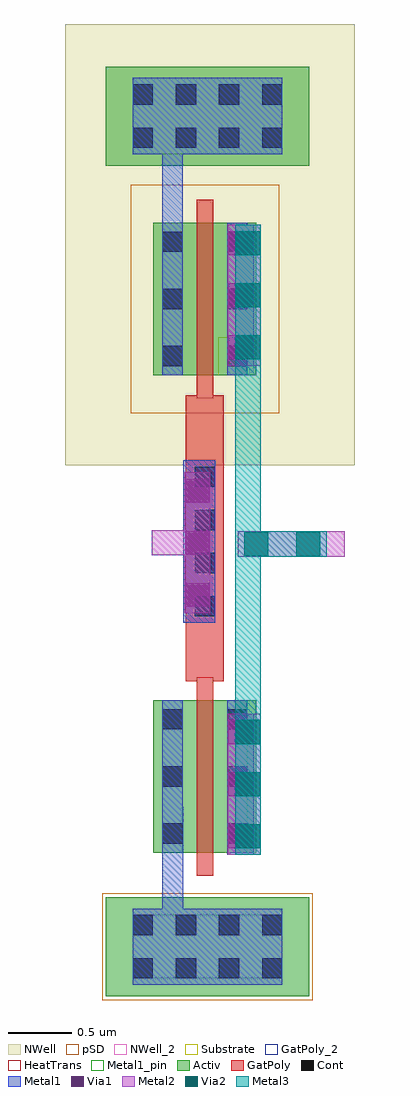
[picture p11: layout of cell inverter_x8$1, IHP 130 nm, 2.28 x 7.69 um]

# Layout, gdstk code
import gdstk
lib = gdstk.Library(unit=1e-6, precision=1e-09)
def R(c, l, rs):  # rectangles x0, y0, x1, y1
    for r in rs: c.add(gdstk.rectangle(r[:2], r[2:], *l))
def A(c, l, x, y, w, h, nx, ny, dx, dy):  # array of equal rectangles
    R(c, l, [(x+i*dx, y+j*dy, x+i*dx+w, y+j*dy+h) for i in range(nx) for j in range(ny)])
Activ = (1, 0)
GatPoly = (5, 0)
GatPoly_2 = (5, 2)
Cont = (6, 0)
Metal1 = (8, 0)
Metal1_pin = (8, 2)
Metal2 = (10, 0)
pSD = (14, 0)
Via1 = (19, 0)
Via2 = (29, 0)
Metal3 = (30, 0)
NWell = (31, 0)
NWell_2 = (31, 2)
Substrate = (40, 0)
HeatTrans = (51, 0)

via_4_2 = lib.new_cell('Via$4$2')
R(via_4_2, Metal2, [(-0.1,-0.555,0.1,0.555)])
A(via_4_2, Via2, -0.095, -0.505, 0.19, 0.19, 1, 3, 0, 0.41)
R(via_4_2, Metal3, [(-0.1,-0.555,0.1,0.555)])

via_2_1_1 = lib.new_cell('Via$2$1$1')
R(via_2_1_1, Metal1, [(-0.105,-0.555,0.105,0.555)])
R(via_2_1_1, Metal2, [(-0.1,-0.555,0.1,0.555)])
A(via_2_1_1, Via1, -0.095, -0.505, 0.19, 0.19, 1, 3, 0, 0.41)

via_3_2_1 = lib.new_cell('Via$3$2$1')
R(via_3_2_1, Metal2, [(-0.35,-0.1,0.35,0.1)])
R(via_3_2_1, Via2, [(-0.3,-0.095,-0.11,0.095), (0.11,-0.095,0.3,0.095)])
R(via_3_2_1, Metal3, [(-0.35,-0.1,0.35,0.1)])

ntap1_3_1 = lib.new_cell('ntap1$3$1')
R(ntap1_3_1, Activ, [(0,0,1.6,0.78)])
A(ntap1_3_1, Cont, 0.21, 0.14, 0.16, 0.16, 4, 2, 0.34, 0.34)
R(ntap1_3_1, Metal1, [(0.21,0.09,1.39,0.69)])
R(ntap1_3_1, Metal1_pin, [(0.21,0.09,1.39,0.69), (0.21,0.14,1.39,0.64)])
R(ntap1_3_1, NWell, [(-0.24,-0.24,1.84,1.02), (0,0,1.6,0.78)])
R(ntap1_3_1, NWell_2, [(0,0,1.6,0.78)])
ntap1_3_1.add(gdstk.Label('well', (0.8,0.01), layer=63, texttype=0))
ntap1_3_1.add(gdstk.Label('well', (0.8,0.01), layer=31, texttype=0))

ptap1_3_1 = lib.new_cell('ptap1$3$1')
R(ptap1_3_1, Activ, [(0,0,1.6,0.78)])
A(ptap1_3_1, Cont, 0.21, 0.14, 0.16, 0.16, 4, 2, 0.34, 0.34)
R(ptap1_3_1, Metal1, [(0.21,0.09,1.39,0.69), (0.21,0.14,1.39,0.64)])
R(ptap1_3_1, Metal1_pin, [(0.21,0.14,1.39,0.64)])
R(ptap1_3_1, pSD, [(-0.03,-0.03,1.63,0.81)])
R(ptap1_3_1, Substrate, [(0,0,1.6,0.78)])
ptap1_3_1.add(gdstk.Label('sub!', (0.8,0.01), layer=63, texttype=0))
ptap1_3_1.add(gdstk.Label('sub!', (0.8,0.01), layer=40, texttype=0))

nmos_3_1 = lib.new_cell('nmos$3$1')
R(nmos_3_1, Activ, [(0,0,0.3,0.3), (0,0,0.81,1.2), (0.51,0,0.81,0.3)])
R(nmos_3_1, GatPoly, [(0.34,-0.18,0.47,1.38)])
R(nmos_3_1, GatPoly_2, [(0.34,-0.18,0.47,1.38)])
A(nmos_3_1, Cont, 0.07, 0.07, 0.16, 0.16, 1, 3, 0, 0.45)
A(nmos_3_1, Cont, 0.58, 0.07, 0.16, 0.16, 1, 3, 0, 0.45)
R(nmos_3_1, Metal1, [(0.07,0,0.23,1.2), (0.58,0,0.74,1.2)])
R(nmos_3_1, Metal1_pin, [(0.07,0,0.23,1.2), (0.58,0,0.74,1.2)])
R(nmos_3_1, HeatTrans, [(0.34,-0.18,0.47,1.38)])
nmos_3_1.add(gdstk.Label('nmos', (0.405,0.6), layer=63, texttype=0))
nmos_3_1.add(gdstk.Label('nmos', (0.405,0.6), layer=51, texttype=0))

pmos_3_1 = lib.new_cell('pmos$3$1')
R(pmos_3_1, Activ, [(0,0,0.3,0.3), (0,0,0.81,1.2), (0.51,0,0.81,0.3)])
R(pmos_3_1, GatPoly, [(0.34,-0.18,0.47,1.38), (0.34,-0.18,0.47,1.38)])
A(pmos_3_1, Cont, 0.07, 0.07, 0.16, 0.16, 1, 3, 0, 0.45)
A(pmos_3_1, Cont, 0.58, 0.07, 0.16, 0.16, 1, 3, 0, 0.45)
R(pmos_3_1, Metal1, [(0.07,0,0.23,1.2), (0.07,0,0.23,1.2), (0.58,0,0.74,1.2), (0.58,0,0.74,1.2)])
R(pmos_3_1, pSD, [(-0.18,-0.3,0.99,1.5)])
R(pmos_3_1, NWell, [(-0.31,-0.31,1.12,1.51)])
R(pmos_3_1, Substrate, [(0.51,0,0.81,0.3)])
R(pmos_3_1, HeatTrans, [(0.34,-0.18,0.47,1.38)])
pmos_3_1.add(gdstk.Label('pmos', (0.405,0.6), layer=63, texttype=0))
pmos_3_1.add(gdstk.Label('pmos', (0.405,0.6), layer=51, texttype=0))

via_4_1_1 = lib.new_cell('Via$4$1$1')
R(via_4_1_1, GatPoly, [(-0.15,-0.66,0.15,0.66)])
A(via_4_1_1, Cont, -0.08, -0.59, 0.16, 0.16, 1, 4, 0, 0.34)
R(via_4_1_1, Metal1, [(-0.08,-0.64,0.08,0.64)])

inverter_x8_1 = lib.new_cell('inverter_x8$1')
R(inverter_x8_1, GatPoly, [(-0.265,-2.855,-0.135,-2.655), (-0.35,-2.25,-0.05,-1.81), (-0.35,-0.49,-0.05,0)])
R(inverter_x8_1, Metal1, [(-0.535,-4.45,-0.37,-3.805), (-0.535,-3.805,-0.37,-3.24), (-0.37,-1.79,-0.35,-0.51), (-0.35,-1.79,-0.28,-0.51), (-0.535,0.96,-0.375,1.26), (-0.535,1.245,-0.375,2.235)])
R(inverter_x8_1, Metal2, [(0.53,-1.27,0.9,-1.07), (-0.62,-1.26,-0.28,-1.06)])
R(inverter_x8_1, Metal3, [(0.04,-3.09,0.24,-2.63), (0.04,-2.7,0.24,-0.24), (0.04,-0.34,0.24,0.76)])
R(inverter_x8_1, NWell, [(-1.3,-0.55,0.98,0.655), (-1.3,0.655,0.755,2.925), (0.755,0.655,0.98,2.925)])
inverter_x8_1.add(gdstk.Reference(via_4_2, (0.14,-3.06)))
inverter_x8_1.add(gdstk.Reference(via_2_1_1, (0.08,-3.06)))
inverter_x8_1.add(gdstk.Reference(via_2_1_1, (-0.26,-1.16)))
inverter_x8_1.add(gdstk.Reference(via_3_2_1, (0.41,-1.17)))
inverter_x8_1.add(gdstk.Reference(via_4_2, (0.14,0.79)))
inverter_x8_1.add(gdstk.Reference(via_2_1_1, (0.08,0.79)))
inverter_x8_1.add(gdstk.Reference(ntap1_3_1, (-0.98,1.81)))
inverter_x8_1.add(gdstk.Reference(ptap1_3_1, (-0.98,-4.73)))
inverter_x8_1.add(gdstk.Reference(nmos_3_1, (-0.605,-3.6)))
inverter_x8_1.add(gdstk.Reference(pmos_3_1, (-0.605,0.16)))
inverter_x8_1.add(gdstk.Reference(via_4_1_1, (-0.2,-1.15)))

lib.write_gds('inverter_x8_1.gds')
